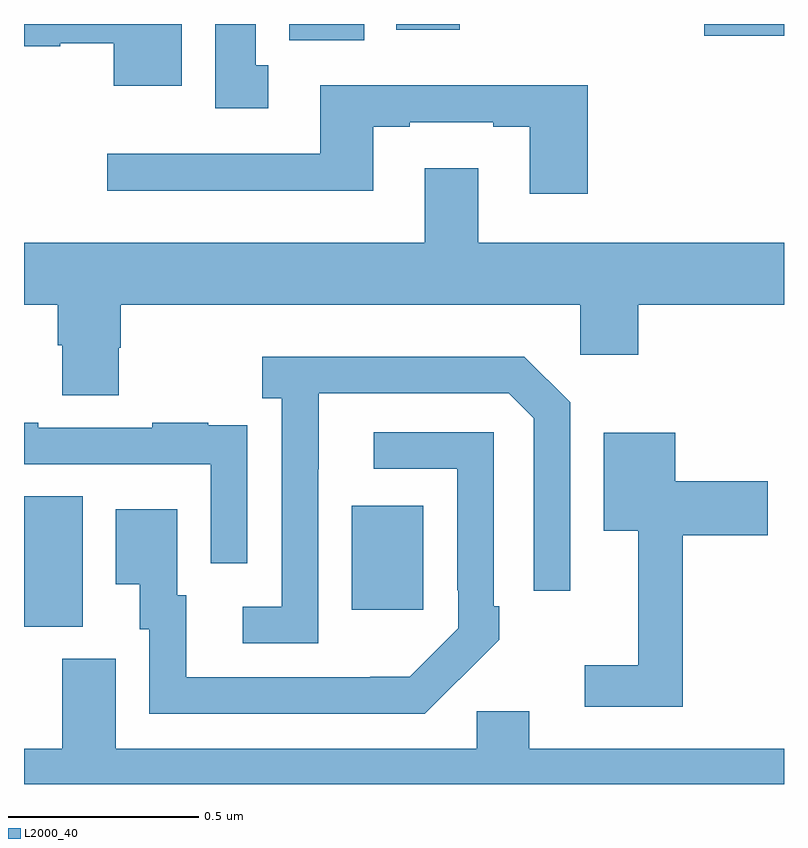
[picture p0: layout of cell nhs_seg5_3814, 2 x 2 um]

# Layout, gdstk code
import gdstk
lib = gdstk.Library(unit=1e-6, precision=1e-09)
def R(c, l, rs):  # rectangles x0, y0, x1, y1
    for r in rs: c.add(gdstk.rectangle(r[:2], r[2:], *l))
def P(c, l, *ps):  # polygons
    for p in ps: c.add(gdstk.Polygon(p, *l))
L2000_40 = (2000, 40)

nhs_seg5_3814 = lib.new_cell('nhs_seg5_3814')
R(nhs_seg5_3814, L2000_40, [(162,889.213,162.154,889.556), (162.863,889.257,163.051,889.531), (162.698,890.756,162.895,890.799), (163.79,890.768,164,890.799), (162.98,890.784,163.147,890.799)])
P(nhs_seg5_3814, L2000_40, [(162.643,890.69),(162.61,890.69),(162.61,890.799),(162.503,890.799),(162.503,890.577),(162.643,890.577)],
  [(162.415,890.799),(162,890.799),(162,890.74),(162.095,890.74),(162.095,890.748),(162.236,890.748),(162.236,890.636),(162.415,890.636)],
  [(163.484,890.638),(162.779,890.638),(162.779,890.457),(162.219,890.457),(162.219,890.36),(162.919,890.36),(162.919,890.529),(163.015,890.529),(163.015,890.541),(163.235,890.541),(163.235,890.529),(163.331,890.529),(163.331,890.352),(163.484,890.352)],
  [(162.249,889.947),(162.254,889.947),(162.254,890.06),(163.464,890.06),(163.464,889.929),(163.616,889.929),(163.616,890.06),(164,890.06),(164,890.224),(163.195,890.224),(163.195,890.419),(163.055,890.419),(163.055,890.224),(162,890.224),(162,890.06),(162.089,890.06),(162.089,889.954),(162.101,889.954),(162.101,889.822),(162.249,889.822)],
  [(162.774,889.627),(162.775,889.627),(162.775,889.827),(163.275,889.827),(163.341,889.761),(163.341,889.308),(163.437,889.308),(163.437,889.803),(163.316,889.924),(162.627,889.924),(162.627,889.814),(162.678,889.814),(162.678,889.266),(162.576,889.266),(162.576,889.17),(162.774,889.17)],
  [(162.588,889.634),(162.587,889.634),(162.587,889.743),(162.485,889.743),(162.485,889.75),(162.337,889.75),(162.337,889.737),(162.037,889.737),(162.037,889.75),(162,889.75),(162,889.641),(162.492,889.641),(162.492,889.38),(162.588,889.38)],
  [(163.145,889.075),(163.146,889.074),(163.251,889.179),(163.251,889.267),(163.236,889.267),(163.236,889.725),(162.921,889.725),(162.921,889.629),(163.14,889.629),(163.14,889.309),(163.143,889.309),(163.143,889.209),(163.015,889.081),(162.911,889.081),(162.911,889.08),(162.427,889.08),(162.427,889.296),(162.403,889.296),(162.403,889.522),(162.242,889.522),(162.242,889.325),(162.305,889.325),(162.305,889.206),(162.33,889.206),(162.33,888.984),(163.054,888.984)],
  [(163.733,889.454),(163.957,889.454),(163.957,889.596),(163.714,889.596),(163.714,889.723),(163.526,889.723),(163.526,889.466),(163.616,889.466),(163.616,889.111),(163.476,889.111),(163.476,889.002),(163.733,889.002)],
  [(164,888.892),(163.33,888.892),(163.33,888.99),(163.191,888.99),(163.191,888.892),(162.241,888.892),(162.241,889.128),(162.101,889.128),(162.101,888.892),(162,888.892),(162,888.799),(164,888.799)])

lib.write_gds('nhs_seg5_3814.gds')
